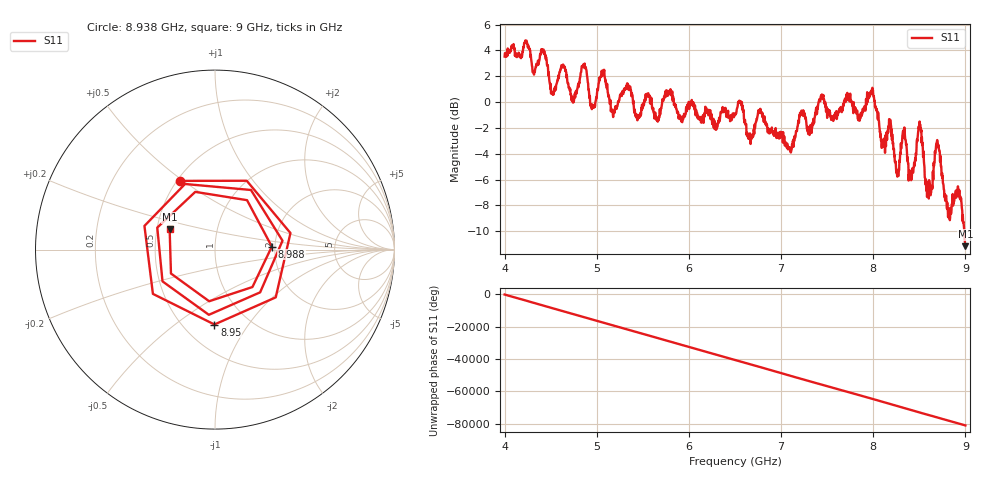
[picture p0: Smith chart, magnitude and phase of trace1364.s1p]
! Created with skrf 1.8.0 (http://scikit-rf.org).
# Hz S RI R 50.0
!freq ReS11 ImS11
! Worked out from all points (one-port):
!   1601 points, 4 GHz to 9 GHz, reference 50 ohm
!   lowest |S11| = -11.2 dB at 9 GHz (marker M1), VSWR 1.77, Z = 29.2 + j7.14 ohm
!   |S11| at or under -10 dB: 8.988107 GHz to end of sweep
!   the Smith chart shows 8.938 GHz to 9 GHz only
!   S11 on the Smith chart (normalised r, x): 8.938 GHz: 0.52, +0.49; 8.95 GHz: 0.70, -0.71; 8.988 GHz: 1.92, +0.07; 9 GHz: 0.58, +0.14
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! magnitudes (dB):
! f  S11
! 4 GHz  3.5
! 4.419 GHz  4.1
! 4.528 GHz  0.6
! 4.625 GHz  2.7
! 4.741 GHz  0.0
! 4.859 GHz  2.8
! 4.953 GHz  -0.4
! 5.059 GHz  2.0
! 5.175 GHz  -1.0
! 5.25 GHz  0.4
! 5.875 GHz  -0.7
! 6.5 GHz  -1.0
! 7.125 GHz  -3.1
! 7.434 GHz  0.5
! 7.75 GHz  0.7
! 7.991 GHz  1.1
! 8.256 GHz  -5.4
! 8.325 GHz  -2.2
! 8.375 GHz  -4.6
! 8.422 GHz  -5.3
! 8.503 GHz  -1.5
! 8.6 GHz  -6.9
! 8.697 GHz  -3.1
! 8.822 GHz  -8.4
! 8.938 GHz  -7.3
! 8.95 GHz  -7.6
! 8.988 GHz  -10.0
! 9 GHz  -11.2
